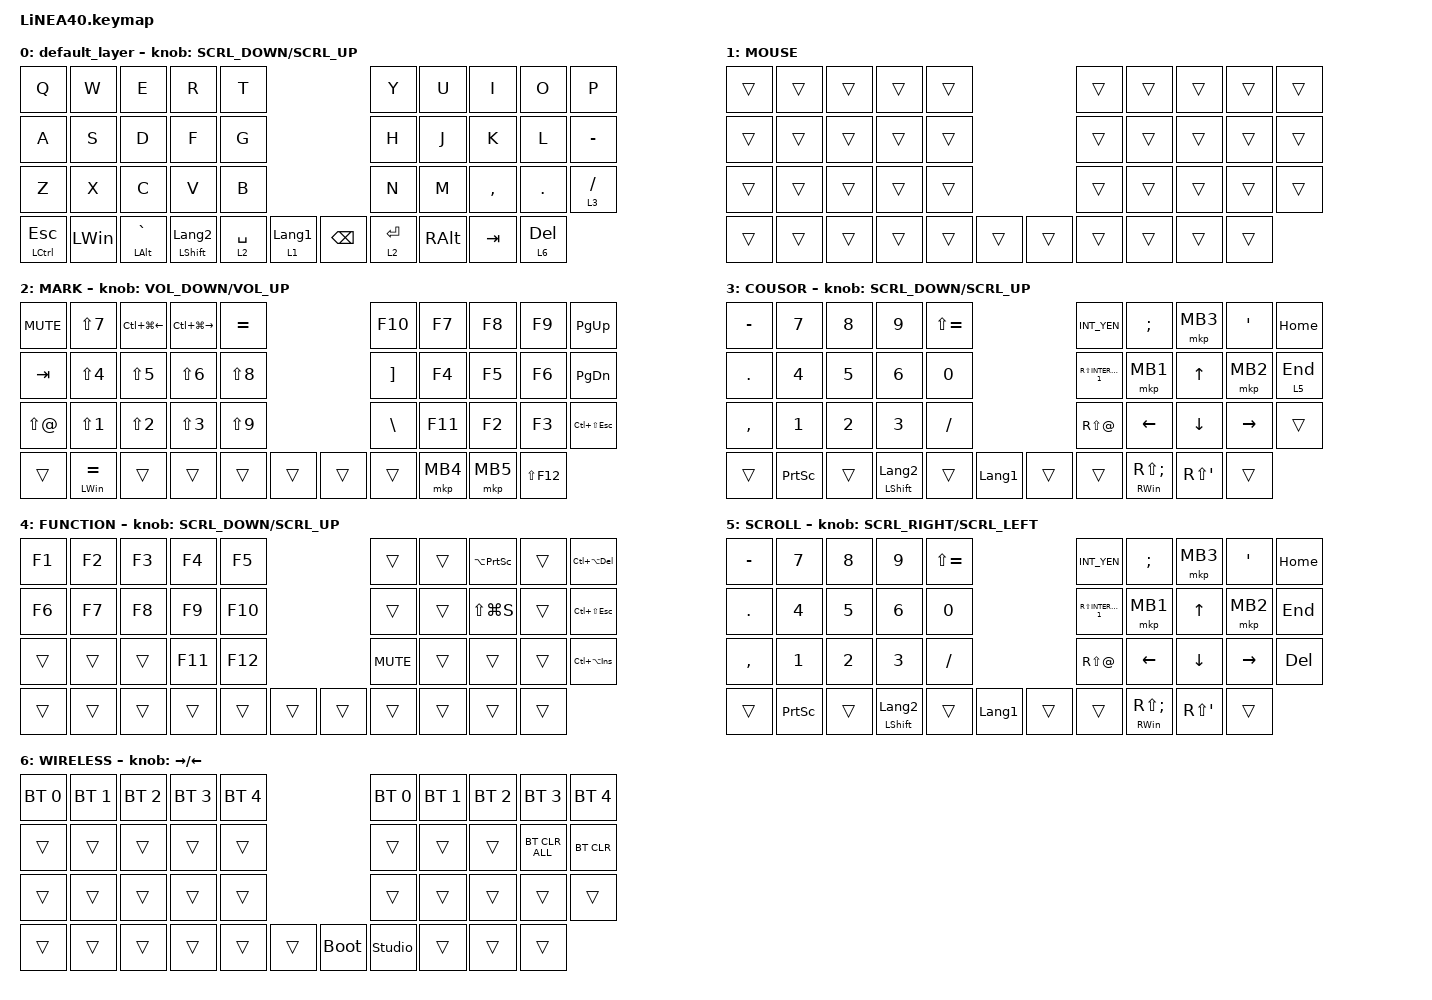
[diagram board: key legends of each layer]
#define ZMK_POINTING_DEFAULT_SCRL_VAL 150

#include <dt-bindings/zmk/input_transform.h>
#include <input/processors.dtsi>
#include <zephyr/dt-bindings/input/input-event-codes.h>
#include <behaviors.dtsi>
#include <dt-bindings/zmk/bt.h>
#include <dt-bindings/zmk/keys.h>
#include <dt-bindings/zmk/pointing.h>

#define MOUSE 1
#define MARK 2
#define CURSOR 3
#define FUNCTION 4
#define SCROLL 5
#define WIRELESS 6

//mouse cursol

&mmv {
    delay-ms = <20>;
    trigger-period-ms = <5>;
    time-to-max-speed-ms = <100>;
    acceleration-exponent = <2>;
};

//mouse scroll

&msc {
    delay-ms = <3>;
    trigger-period-ms = <3>;
    time-to-max-speed-ms = <100>;
    acceleration-exponent = <0>;
};

/ {
    input_processors {
        zip_wheel_scaler: zip_wheel_scaler {
            compatible = "zmk,input-processor-scaler";
            #input-processor-cells = <2>;
            type = <INPUT_EV_REL>;
            codes = <INPUT_REL_WHEEL>;
            track-remainders;
        };
    };
};

&msc_input_listener {
    speed_up {
        layers = <FUNCTION>;
        input-processors = <&zip_wheel_scaler 3 1>; //スクロールを3倍速にする
    };
};

&trackball_listener {
    scroller {
        layers = <SCROLL>;
        input-processors =
            <&zip_xy_transform INPUT_TRANSFORM_Y_INVERT>,
            //スクロール方向を逆転,,,,,,,,,,,,,,,
            <&zip_xy_to_scroll_mapper>;
    };
};

/ {
    combos { compatible = "zmk,combos"; };

    behaviors {
        re_kp: sensor_rotate_kp {
            compatible = "zmk,behavior-sensor-rotate-var";
            #sensor-binding-cells = <2>;
            bindings = <&kp>, <&kp>;
        };

        mouse_scrl: mouse_wheel_scrl {
            compatible = "zmk,behavior-sensor-rotate-var";
            #sensor-binding-cells = <2>;
            bindings = <&msc>, <&msc>;

            tap-ms = <20>;
        };
    };

    keymap {
        compatible = "zmk,keymap";

        default_layer {
            bindings = <
&kp Q          &kp W         &kp E               &kp R                      &kp T                                           &kp Y        &kp U  &kp I          &kp O    &kp P
&kp A          &kp S         &kp D               &kp F                      &kp G                                           &kp H        &kp J  &kp K          &kp L    &kp MINUS
&kp Z          &kp X         &kp C               &kp V                      &kp B                                           &kp N        &kp M  &kp COMMA      &kp DOT  &lt 3 SLASH
&mt LCTRL ESC  &kp LEFT_WIN  &mt LEFT_ALT GRAVE  &mt LEFT_SHIFT LANGUAGE_2  &lt 2 SPACE  &lt 1 LANGUAGE_1    &kp BACKSPACE  &lt 2 ENTER         &kp RIGHT_ALT  &kp TAB  &lt 6 DELETE
            >;

            sensor-bindings = <&mouse_scrl SCRL_DOWN SCRL_UP>;
        };

        MOUSE {
            bindings = <
&trans  &trans  &trans  &trans  &trans                    &trans  &trans  &trans  &trans  &trans
&trans  &trans  &trans  &trans  &trans                    &trans  &trans  &trans  &trans  &trans
&trans  &trans  &trans  &trans  &trans                    &trans  &trans  &trans  &trans  &trans
&trans  &trans  &trans  &trans  &trans  &trans    &trans  &trans          &trans  &trans  &trans
            >;
        };

        MARK {
            bindings = <
&kp C_MUTE       &kp LS(N7)          &kp LC(LG(LEFT_ARROW))  &kp LC(LG(RIGHT_ARROW))  &kp EQUAL                     &kp F10            &kp F7   &kp F8    &kp F9    &kp PAGE_UP
&kp TAB          &kp LS(NUMBER_4)    &kp LS(N5)              &kp LS(NUMBER_6)         &kp LS(N8)                    &kp RIGHT_BRACKET  &kp F4   &kp F5    &kp F6    &kp PAGE_DOWN
&kp LS(AT_SIGN)  &kp LS(NUMBER_1)    &kp LS(NUMBER_2)        &kp LS(NUMBER_3)         &kp LS(N9)                    &kp BACKSLASH      &kp F11  &kp F2    &kp F3    &kp LC(LS(ESCAPE))
&trans           &mt LEFT_WIN EQUAL  &trans                  &trans                   &trans      &trans    &trans  &trans                      &mkp MB4  &mkp MB5  &kp LS(F12)
            >;

            sensor-bindings = <&re_kp C_VOLUME_DOWN C_VOLUME_UP>;
        };

        COUSOR {
            bindings = <
&kp MINUS   &kp N7           &kp N8        &kp N9                     &kp LS(EQUAL)                            &kp INT_YEN              &kp SEMICOLON   &mkp MB3                     &kp SQT          &kp HOME
&kp PERIOD  &kp NUMBER_4     &kp N5        &kp NUMBER_6               &kp N0                                   &kp RS(INTERNATIONAL_1)  &mkp MB1        &kp UP_ARROW                 &mkp MB2         &lt 5 END
&kp COMMA   &kp NUMBER_1     &kp NUMBER_2  &kp NUMBER_3               &kp SLASH                                &kp RS(AT_SIGN)          &kp LEFT_ARROW  &kp DOWN_ARROW               &kp RIGHT_ARROW  &trans
&trans      &kp PRINTSCREEN  &trans        &mt LEFT_SHIFT LANGUAGE_2  &trans         &kp LANGUAGE_1    &trans  &trans                                   &mt RIGHT_WIN RS(SEMICOLON)  &kp RS(SQT)      &trans
            >;

            sensor-bindings = <&mouse_scrl SCRL_DOWN SCRL_UP>;
        };

        FUNCTION {
            bindings = <
&kp F1  &kp F2  &kp F3  &kp F4   &kp F5                     &trans      &trans  &kp LA(PRINTSCREEN)  &trans  &kp LC(LA(DELETE))
&kp F6  &kp F7  &kp F8  &kp F9   &kp F10                    &trans      &trans  &kp LS(LG(S))        &trans  &kp LC(LS(ESCAPE))
&trans  &trans  &trans  &kp F11  &kp F12                    &kp C_MUTE  &trans  &trans               &trans  &kp LC(LA(INS))
&trans  &trans  &trans  &trans   &trans   &trans    &trans  &trans              &trans               &trans  &trans
            >;

            sensor-bindings = <&mouse_scrl SCRL_DOWN SCRL_UP>;
        };

        SCROLL {
            bindings = <
&kp MINUS   &kp N7           &kp N8        &kp N9                     &kp LS(EQUAL)                            &kp INT_YEN              &kp SEMICOLON   &mkp MB3                     &kp SQT          &kp HOME
&kp PERIOD  &kp NUMBER_4     &kp N5        &kp NUMBER_6               &kp N0                                   &kp RS(INTERNATIONAL_1)  &mkp MB1        &kp UP_ARROW                 &mkp MB2         &kp END
&kp COMMA   &kp NUMBER_1     &kp NUMBER_2  &kp NUMBER_3               &kp SLASH                                &kp RS(AT_SIGN)          &kp LEFT_ARROW  &kp DOWN_ARROW               &kp RIGHT_ARROW  &kp DELETE
&trans      &kp PRINTSCREEN  &trans        &mt LEFT_SHIFT LANGUAGE_2  &trans         &kp LANGUAGE_1    &trans  &trans                                   &mt RIGHT_WIN RS(SEMICOLON)  &kp RS(SQT)      &trans
            >;

            sensor-bindings = <&mouse_scrl SCRL_RIGHT SCRL_LEFT>;
        };

        WIRELESS {
            bindings = <
&bt BT_SEL 0  &bt BT_SEL 1  &bt BT_SEL 2  &bt BT_SEL 3  &bt BT_SEL 4                         &bt BT_SEL 0    &bt BT_SEL 1  &bt BT_SEL 2  &bt BT_SEL 3    &bt BT_SEL 4
&trans        &trans        &trans        &trans        &trans                               &trans          &trans        &trans        &bt BT_CLR_ALL  &bt BT_CLR
&trans        &trans        &trans        &trans        &trans                               &trans          &trans        &trans        &trans          &trans
&trans        &trans        &trans        &trans        &trans        &trans    &bootloader  &studio_unlock                &trans        &trans          &trans
            >;

            sensor-bindings = <&inc_dec_kp RIGHT_ARROW LEFT_ARROW>;
        };
    };
};
